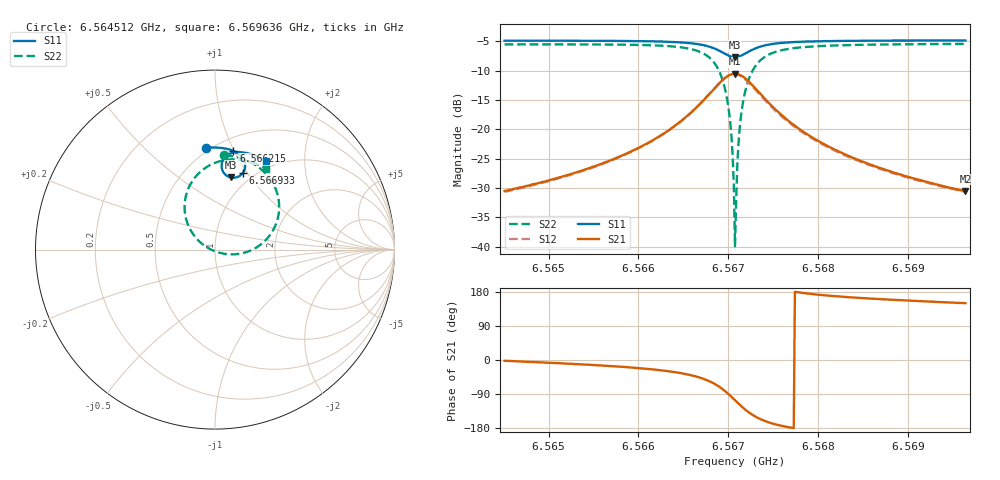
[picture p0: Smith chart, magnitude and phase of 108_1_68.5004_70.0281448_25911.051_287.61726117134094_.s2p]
#  HZ  S  RI  R  50.00
! Rohde & Schwarz Vector Network Analyzer
! Rohde-Schwarz,ZNB20-2Port,1311601062101988,3.16
! Created: UTC 3/20/2024, 4:53:20 PM
! freq[Hz]  re:S11  im:S11  re:S21  im:S21  re:S12  im:S12  re:S22  im:S22
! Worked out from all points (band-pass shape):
!   401 points, 6.564512 GHz to 6.569636 GHz, reference 50 ohm
!   highest |S21| = -10.53 dB at 6.567074 GHz (marker M1); lowest = -30.5 dB at 6.569636 GHz (marker M2)
!   |S21| within 3 dB of the highest: 6.566817 GHz to 6.567329 GHz (512.5 kHz wide, 0.0078 % of centre)
!   lowest |S11| = -7.7 dB at 6.567074 GHz (marker M3), VSWR 2.40, Z = 41.8 + j40.4 ohm
!   |S11| at or under -10 dB: nowhere
!   |S22| runs from -39.9 to -5.4 dB; largest |S21 - S12| = 0.015
!   S11 on the Smith chart (normalised r, x): 6.564512 GHz: 0.47, +0.80; 6.566215 GHz: 0.62, +0.99; 6.566933 GHz: 0.89, +0.95; 6.569636 GHz: 0.89, +1.31
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6.5645116e9  -0.0502 0.567  0.0298 -0.00113  0.0293 -0.00156  0.0522 0.526
6.5653699e9  0.0212 0.5676  0.0435 -0.00902  0.0428 -0.00951  0.1365 0.5105
6.5662153e9  0.1026 0.5503  0.0767 -0.0379  0.0756 -0.0387  0.2549 0.4497
6.5662281e9  0.1041 0.5498  0.0775 -0.0389  0.0764 -0.0396  0.2574 0.4478
6.5665228e9  0.1394 0.5279  0.1008 -0.0756  0.0991 -0.0773  0.3199 0.3747
6.5667277e9  0.1637 0.4934  0.114 -0.1365  0.1112 -0.1394  0.3568 0.2573
6.566843e9  0.1677 0.4591  0.1024 -0.1968  0.0971 -0.2009  0.3399 0.1419
6.5669327e9  0.154 0.4257  0.0615 -0.2539  0.0521 -0.2573  0.2641 0.0357
6.5670095e9  0.123 0.4034  -0.00877 -0.2889  -0.0217 -0.288  0.134 -0.0236
6.5670352e9  0.1092 0.4005  -0.0381 -0.292  -0.0515 -0.289  0.0807 -0.0264
6.567048e9  0.1019 0.3999  -0.0531 -0.2912  -0.0666 -0.2872  0.0539 -0.0237
6.5670608e9  0.0946 0.4005  -0.0683 -0.2893  -0.0814 -0.2841  0.0273 -0.0182
6.5670736e9  0.0875 0.4018  -0.0832 -0.2858  -0.0961 -0.2791  0.00115 -0.01
6.5670992e9  0.0738 0.4065  -0.1113 -0.2742  -0.1231 -0.2655  -0.0472 0.0143
6.5671248e9  0.0616 0.4143  -0.1365 -0.2578  -0.1466 -0.2472  -0.0888 0.0469
6.5671504e9  0.0518 0.424  -0.157 -0.2377  -0.1652 -0.2261  -0.1216 0.0851
6.5672017e9  0.0396 0.4465  -0.1837 -0.1926  -0.1877 -0.18  -0.1606 0.1682
6.5672657e9  0.0371 0.4741  -0.1937 -0.1386  -0.1937 -0.1275  -0.1682 0.2635
6.5675091e9  0.0754 0.5301  -0.1482 -0.0291  -0.1449 -0.0244  -0.0642 0.4478
6.5679318e9  0.1384 0.5435  -0.0848 0.00889  -0.0827 0.0102  0.0768 0.5016
6.5687901e9  0.2208 0.5248  -0.0413 0.0157  -0.0403 0.0158  0.2084 0.4856
6.5696355e9  0.2845 0.4952  -0.0258 0.0149  -0.0252 0.0149  0.2859 0.4516
